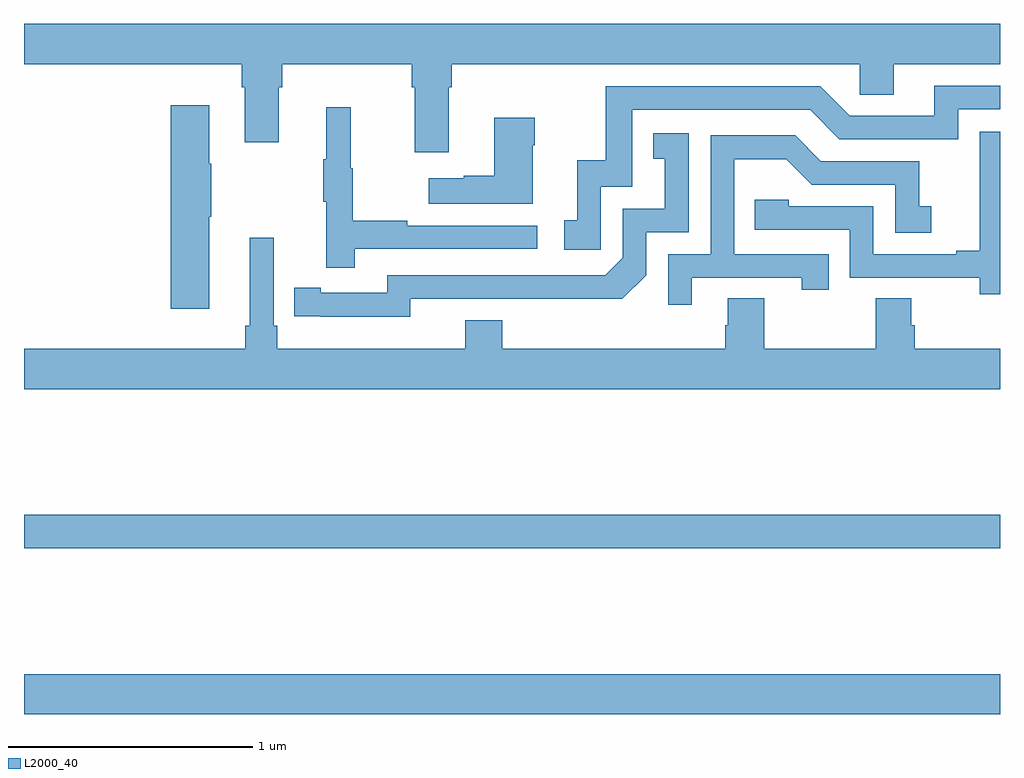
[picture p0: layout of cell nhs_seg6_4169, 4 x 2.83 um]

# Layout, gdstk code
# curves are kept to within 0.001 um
import gdstk
lib = gdstk.Library(unit=1e-6, precision=1e-09)
def R(c, l, rs):  # rectangles x0, y0, x1, y1
    for r in rs: c.add(gdstk.rectangle(r[:2], r[2:], *l))
def P(c, l, *ps):  # polygons
    for p in ps: c.add(gdstk.Polygon(p, *l))
L2000_40 = (2000, 40)

nhs_seg6_4169 = lib.new_cell('nhs_seg6_4169')
R(nhs_seg6_4169, L2000_40, [(357,950,361,950.164), (357,950.68,361,950.816)])
P(nhs_seg6_4169, L2000_40, [(358.741,952.568),(358.754,952.568),(358.754,952.664),(360.426,952.664),(360.426,952.537),(360.565,952.537),(360.565,952.664),(361,952.664),(361,952.828),(357,952.828),(357,952.664),(357.893,952.664),(357.893,952.568),(357.905,952.568),(357.905,952.344),(358.045,952.344),(358.045,952.568),(358.058,952.568),(358.058,952.664),(358.589,952.664),(358.589,952.568),(358.601,952.568),(358.601,952.302),(358.741,952.302)],
  [(359.364,952.161),(359.493,952.161),(359.493,952.476),(360.222,952.476),(360.342,952.356),(360.828,952.356),(360.828,952.479),(361,952.479),(361,952.575),(360.731,952.575),(360.731,952.452),(360.384,952.452),(360.264,952.572),(359.385,952.572),(359.385,952.27),(359.267,952.27),(359.267,952.023),(359.214,952.023),(359.214,951.903),(359.364,951.903)],
  [(357.76,952.039),(357.768,952.039),(357.768,952.256),(357.76,952.256),(357.76,952.495),(357.602,952.495),(357.602,951.66),(357.76,951.66)],
  [(358.355,951.906),(359.104,951.906),(359.104,952.002),(358.571,952.002),(358.571,952.022),(358.348,952.022),(358.348,952.236),(358.34,952.236),(358.34,952.486),(358.238,952.486),(358.238,952.273),(358.227,952.273),(358.227,952.099),(358.238,952.099),(358.238,951.828),(358.355,951.828)],
  [(359.086,952.331),(359.094,952.331),(359.094,952.444),(358.928,952.444),(358.928,952.205),(358.802,952.205),(358.802,952.195),(358.659,952.195),(358.659,952.091),(359.086,952.091)],
  [(361,952.387),(360.916,952.387),(360.916,952.181),(360.917,952.181),(360.917,951.898),(360.821,951.898),(360.821,951.885),(360.48,951.885),(360.48,952.08),(360.135,952.08),(360.135,952.107),(359.995,952.107),(359.995,951.984),(360.384,951.984),(360.384,951.789),(360.918,951.789),(360.918,951.721),(361,951.721)],
  [(358.584,951.702),(359.452,951.701),(359.55,951.798),(359.55,951.975),(359.724,951.975),(359.724,952.381),(359.578,952.381),(359.578,952.275),(359.627,952.275),(359.627,952.071),(359.454,952.071),(359.454,951.87),(359.382,951.798),(358.488,951.798),(358.488,951.726),(358.216,951.726),(358.216,951.746),(358.108,951.746),(358.108,951.63),(358.584,951.629)],
  [(359.737,951.789),(360.188,951.789),(360.188,951.738),(360.299,951.738),(360.299,951.885),(359.91,951.885),(359.91,952.274),(360.124,952.274),(360.228,952.17),(360.57,952.17),(360.57,951.972),(360.718,951.972),(360.718,952.081),(360.669,952.081),(360.669,952.266),(360.265,952.266),(360.16,952.371),(359.814,952.371),(359.814,951.885),(359.64,951.885),(359.64,951.678),(359.737,951.678)],
  [(361,951.496),(360.65,951.496),(360.65,951.594),(360.637,951.594),(360.637,951.704),(360.49,951.704),(360.49,951.496),(360.033,951.496),(360.033,951.704),(359.885,951.704),(359.885,951.594),(359.873,951.594),(359.873,951.496),(358.961,951.496),(358.961,951.613),(358.808,951.613),(358.808,951.496),(358.037,951.496),(358.037,951.592),(358.023,951.592),(358.023,951.952),(357.926,951.952),(357.926,951.592),(357.907,951.592),(357.907,951.496),(357,951.496),(357,951.332),(361,951.332)])

lib.write_gds('nhs_seg6_4169.gds')
